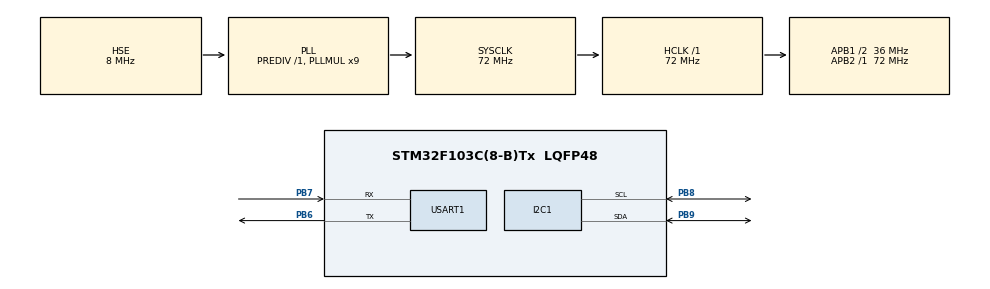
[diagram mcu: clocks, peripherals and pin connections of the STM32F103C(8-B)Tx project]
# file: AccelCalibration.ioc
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Dma.Request0=USART1_RX
Dma.Request1=USART1_TX
Dma.USART1_RX.0.Direction=DMA_PERIPH_TO_MEMORY
Dma.USART1_RX.0.Instance=DMA1_Channel5
Dma.USART1_RX.0.MemDataAlignment=DMA_MDATAALIGN_BYTE
Dma.USART1_RX.0.MemInc=DMA_MINC_ENABLE
Dma.USART1_RX.0.Mode=DMA_NORMAL
Dma.USART1_RX.0.PeriphDataAlignment=DMA_PDATAALIGN_BYTE
Dma.USART1_RX.0.PeriphInc=DMA_PINC_DISABLE
Dma.USART1_RX.0.Priority=DMA_PRIORITY_LOW
Dma.USART1_TX.1.Direction=DMA_MEMORY_TO_PERIPH
Dma.USART1_TX.1.Instance=DMA1_Channel4
Dma.USART1_TX.1.MemDataAlignment=DMA_MDATAALIGN_BYTE
Dma.USART1_TX.1.MemInc=DMA_MINC_ENABLE
Dma.USART1_TX.1.Mode=DMA_NORMAL
Dma.USART1_TX.1.PeriphDataAlignment=DMA_PDATAALIGN_BYTE
Dma.USART1_TX.1.PeriphInc=DMA_PINC_DISABLE
Dma.USART1_TX.1.Priority=DMA_PRIORITY_LOW
Mcu.Family=STM32F1
Mcu.Name=STM32F103C(8-B)Tx
Mcu.Package=LQFP48
NVIC.DMA1_Channel4_IRQn=true\:0\:0\:false\:false\:true\:false\:true\:true
NVIC.DMA1_Channel5_IRQn=true\:0\:0\:false\:false\:true\:false\:true\:true
NVIC.PriorityGroup=NVIC_PRIORITYGROUP_4
NVIC.USART1_IRQn=true\:0\:0\:false\:false\:true\:true\:true\:true
PA13.Mode=Serial_Wire
PA13.Signal=SYS_JTMS-SWDIO
PA14.Mode=Serial_Wire
PA14.Signal=SYS_JTCK-SWCLK
PB6.Mode=Asynchronous
PB6.Signal=USART1_TX
PB7.Mode=Asynchronous
PB7.Signal=USART1_RX
PB8.Mode=I2C
PB8.Signal=I2C1_SCL
PB9.Mode=I2C
PB9.Signal=I2C1_SDA
PD0-OSC_IN.Mode=HSE-External-Oscillator
PD0-OSC_IN.Signal=RCC_OSC_IN
PD1-OSC_OUT.Mode=HSE-External-Oscillator
PD1-OSC_OUT.Signal=RCC_OSC_OUT
ProjectManager.HeapSize=0x200
ProjectManager.StackSize=0x400
ProjectManager.TargetToolchain=Makefile
RCC.AHBFreq_Value=72000000
RCC.APB1CLKDivider=RCC_HCLK_DIV2
RCC.APB1Freq_Value=36000000
RCC.APB1TimFreq_Value=72000000
RCC.APB2Freq_Value=72000000
RCC.APB2TimFreq_Value=72000000
RCC.HCLKFreq_Value=72000000
RCC.PLLMUL=RCC_PLL_MUL9
RCC.PLLSourceVirtual=RCC_PLLSOURCE_HSE
RCC.SYSCLKFreq_VALUE=72000000
RCC.SYSCLKSource=RCC_SYSCLKSOURCE_PLLCLK
RCC.USBFreq_Value=72000000
TIM2.Prescaler=72-1
USART1.VirtualMode=VM_ASYNC
VP_TIM2_VS_ClockSourceINT.Mode=Internal
board=custom

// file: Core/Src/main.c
/* USER CODE BEGIN Header */
/**
  ******************************************************************************
  * @file           : main.c
  * @brief          : Main program body
  ******************************************************************************
  * @attention
  *
  * Copyright (c) 2022 STMicroelectronics.
  * All rights reserved.
  *
  * This software is licensed under terms that can be found in the LICENSE file
  * in the root directory of this software component.
  * If no LICENSE file comes with this software, it is provided AS-IS.
  *
  ******************************************************************************
  */
/* USER CODE END Header */
#include "main.h"
#include "dma.h"
#include "i2c.h"
#include "tim.h"
#include "usart.h"
#include "gpio.h"

/* USER CODE BEGIN Includes */
#include "bsp_i2c.h"
#include "bsp_uart.h"
#include "MPU6050.h"
#include "bsp_delay.h"
/* USER CODE END Includes */

void SystemClock_Config(void);

/* USER CODE BEGIN 0 */
MPU6050_imu test;
/* USER CODE END 0 */

int main(void)
{

  /* MCU Configuration--------------------------------------------------------*/

  /* Reset of all peripherals, Initializes the Flash interface and the Systick. */
  HAL_Init();

  /* Configure the system clock */
  SystemClock_Config();

  /* Initialize all configured peripherals */
  MX_GPIO_Init();
  MX_DMA_Init();
  MX_USART1_UART_Init();
  MX_I2C1_Init();
  MX_TIM2_Init();
  /* USER CODE BEGIN 2 */
  BSP_I2C_Init();
  BSP_UART_Init();
  MPU6050_config mpu_config;
  mpu_config.bsp_i2c_index = 0;
  mpu_config.addr = 0x68;
  mpu_config.accelfactor[0] =0.9961208267027851;
  mpu_config.accelfactor[1] =0.9961816912209319;
  mpu_config.accelfactor[2] =0.9850846239868644;
  mpu_config.accelbias[0] = -0.5282283133798743;
  mpu_config.accelbias[1] = 0.1308315497601815;
  mpu_config.accelbias[2] = 1.1516887155070668;
  MPU6050_Create(&test,&mpu_config);

  /* USER CODE END 2 */

  /* Infinite loop */
  while (1)
  {

    /* USER CODE BEGIN 3 */
    MPU6050_Update(&test);
    bsp_delay_ms(4);
  }
  /* USER CODE END 3 */
}

void SystemClock_Config(void)
{
  RCC_OscInitTypeDef RCC_OscInitStruct = {0};
  RCC_ClkInitTypeDef RCC_ClkInitStruct = {0};

  /** Initializes the RCC Oscillators according to the specified parameters
  * in the RCC_OscInitTypeDef structure.
  */
  RCC_OscInitStruct.OscillatorType = RCC_OSCILLATORTYPE_HSE;
  RCC_OscInitStruct.HSEState = RCC_HSE_ON;
  RCC_OscInitStruct.HSEPredivValue = RCC_HSE_PREDIV_DIV1;
  RCC_OscInitStruct.HSIState = RCC_HSI_ON;
  RCC_OscInitStruct.PLL.PLLState = RCC_PLL_ON;
  RCC_OscInitStruct.PLL.PLLSource = RCC_PLLSOURCE_HSE;
  RCC_OscInitStruct.PLL.PLLMUL = RCC_PLL_MUL9;
  if (HAL_RCC_OscConfig(&RCC_OscInitStruct) != HAL_OK)
  {
    Error_Handler();
  }

  /** Initializes the CPU, AHB and APB buses clocks
  */
  RCC_ClkInitStruct.ClockType = RCC_CLOCKTYPE_HCLK|RCC_CLOCKTYPE_SYSCLK
                              |RCC_CLOCKTYPE_PCLK1|RCC_CLOCKTYPE_PCLK2;
  RCC_ClkInitStruct.SYSCLKSource = RCC_SYSCLKSOURCE_PLLCLK;
  RCC_ClkInitStruct.AHBCLKDivider = RCC_SYSCLK_DIV1;
  RCC_ClkInitStruct.APB1CLKDivider = RCC_HCLK_DIV2;
  RCC_ClkInitStruct.APB2CLKDivider = RCC_HCLK_DIV1;

  if (HAL_RCC_ClockConfig(&RCC_ClkInitStruct, FLASH_LATENCY_2) != HAL_OK)
  {
    Error_Handler();
  }
}

void Error_Handler(void)
{
  __disable_irq();
  while (1)
  {
  }
}
